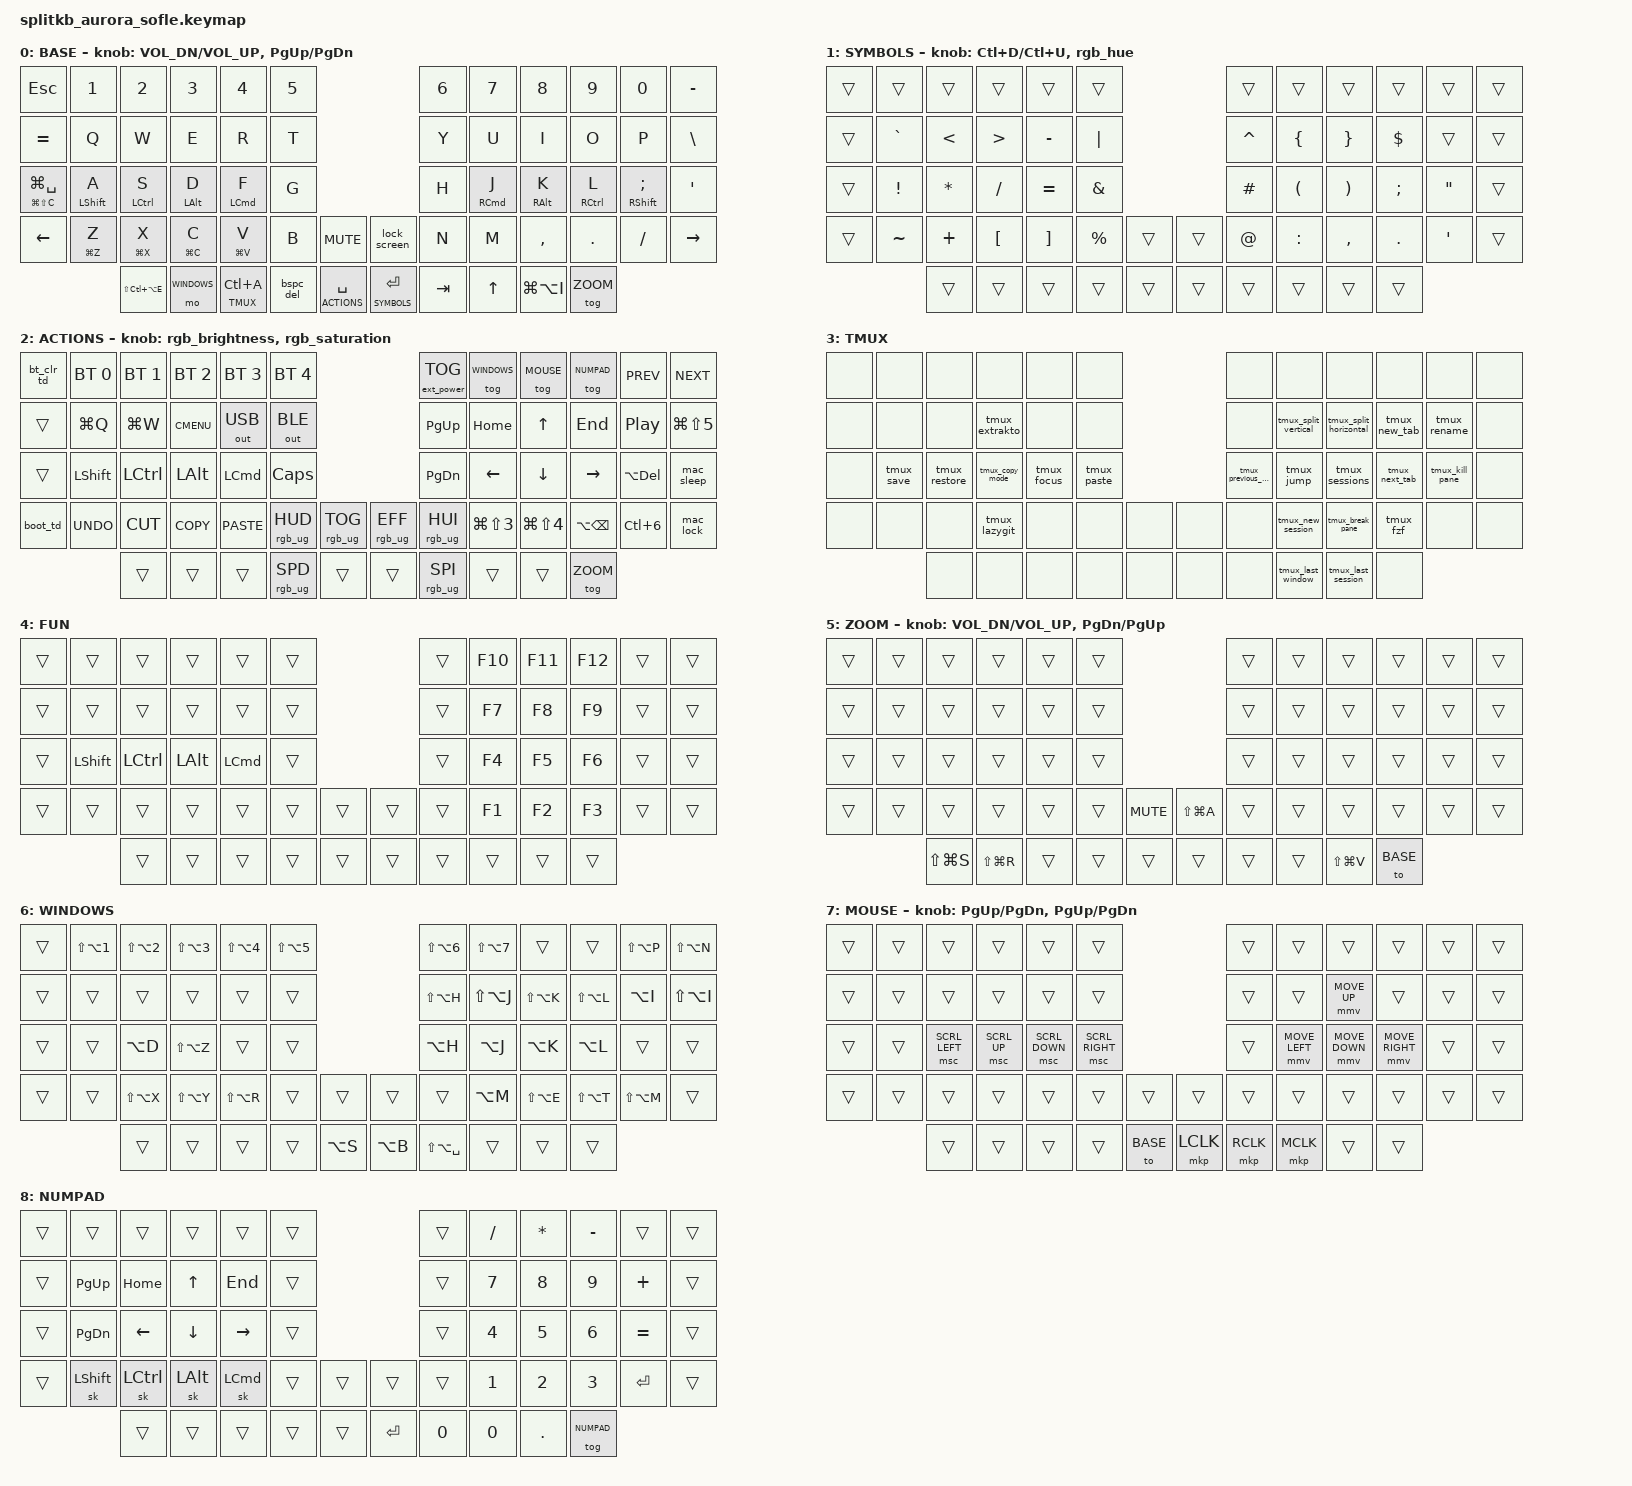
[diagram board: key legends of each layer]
/*
 * Copyright (c) 2023 The ZMK Contributors
 *
 * SPDX-License-Identifier: MIT
 */

#include "keys/60.h"
#include "keys/base.h"

#define ZMK_POINTING_DEFAULT_MOVE_VAL 600  // default: 600
#define ZMK_POINTING_DEFAULT_SCRL_VAL 10    // default: 10

#include <behaviors.dtsi>
#include <dt-bindings/zmk/bt.h>
#include <dt-bindings/zmk/ext_power.h>
#include <dt-bindings/zmk/keys.h>
#include <dt-bindings/zmk/outputs.h>
#include <dt-bindings/zmk/pointing.h>
#include <dt-bindings/zmk/rgb.h>

// move nice!view CS pin to D0

#define BASE      0
#define SYMBOLS   1
#define ACTIONS   2
#define TMUX      3
#define FUN       4
#define ZOOM      5
#define WINDOWS   6
#define MOUSE     7
#define NUMPAD    8

&nice_view_spi { cs-gpios = <&pro_micro 0 GPIO_ACTIVE_HIGH>; };

&mt {
    flavor = "tap-preferred";
    tapping-term-ms = <300>;
    quick-tap-ms = <175>;
    require-prior-idle-ms = <200>;
};

&lt {
    flavor = "balanced";
    tapping-term-ms = <200>;
    quick-tap-ms = <175>;
};

&msc {
    acceleration-exponent = <1>;      // 0
    time-to-max-speed-ms = <40>;      // 500
    delay-ms = <0>;                   // 10
};

&caps_word {
    continue-list = <UNDERSCORE MINUS BACKSPACE DELETE N1 N2 N3 N4 N5 N6 N7 N8 N9 N0>;
};

/ {
    sensors {
        compatible = "zmk,keymap-sensors";
        sensors = <&left_encoder &right_encoder>;
        triggers-per-rotation = <30>;
    };

    behaviors {
        // Positional Homerow mods
        // Homerow mods that prevent accidental activations when rolling keys,
        // such as when typing `st` or `ne` on colemak-dh layouts or `as` on
        // qwerty.
        //
        // Works by only allowing a mod to activate within tapping-term if
        // it's on the opposite side of the keyboard or on the same side thumb
        // keys.
        // Further optimization using urob's timerless homerow mods method:
        // https://github.com/urob/zmk-config#timeless-homerow-mods

        hml: homerow_mods_left {
            compatible = "zmk,behavior-hold-tap";
            label = "HOMEROW_MODS_LEFT";
            #binding-cells = <2>;
            bindings = <&kp>, <&kp>;

            flavor = "balanced";
            tapping-term-ms = <280>;
            quick-tap-ms = <175>;                // repeat on tap-into-hold
            require-prior-idle-ms = <150>;

            hold-trigger-key-positions = <KEYS_R KEYS_T>;
            hold-trigger-on-release;
        };

        hmr: homerow_mods_right {
            compatible = "zmk,behavior-hold-tap";
            label = "HOMEROW_MODS_RIGHT";
            #binding-cells = <2>;
            bindings = <&kp>, <&kp>;

            flavor = "balanced";
            tapping-term-ms = <280>;
            quick-tap-ms = <175>;
            require-prior-idle-ms = <150>;
            hold-trigger-key-positions = <KEYS_L KEYS_T>;
            hold-trigger-on-release;
        };

        lock_screen: lock_screen {
            compatible = "zmk,behavior-tap-dance";
            label = "LOCK_SCREEN";
            #binding-cells = <0>;
            bindings = <&mac_lock>, <&mac_sleep>;
            tapping-term-ms = <300>;
        };

        bt_clr_td: bt_clr_tap_dance {
            compatible = "zmk,behavior-tap-dance";
            label = "BT_CLR_TAP_DANCE";
            #binding-cells = <0>;
            bindings = <&none>, <&bt BT_CLR>;
            tapping-term-ms = <300>;
        };

        boot_td: bootloader_tap_dance {
            compatible = "zmk,behavior-tap-dance";
            label = "BOOTLOADER_TAP_DANCE";
            #binding-cells = <0>;
            bindings = <&none>, <&bootloader>;
            tapping-term-ms = <300>;
        };

        rgb_brightness: rgb_brightness {
            compatible = "zmk,behavior-sensor-rotate";
            label = "RGB_BRIGHTNESS";
            #sensor-binding-cells = <0>;
            bindings = <&rgb_ug RGB_BRD>, <&rgb_ug RGB_BRI>;
        };

        rgb_hue: rgb_hue {
            compatible = "zmk,behavior-sensor-rotate";
            label = "RGB_HUE";
            #sensor-binding-cells = <0>;
            bindings = <&rgb_ug RGB_HUD>, <&rgb_ug RGB_HUI>;
        };

        rgb_saturation: rgb_saturation {
            compatible = "zmk,behavior-sensor-rotate";
            label = "RGB_SATURATION";
            #sensor-binding-cells = <0>;
            bindings = <&rgb_ug RGB_SAD>, <&rgb_ug RGB_SAI>;
        };

        bspc_del: backspace_delete {
            compatible = "zmk,behavior-mod-morph";
            label = "BACKSPACE_DELETE";
            #binding-cells = <0>;
            bindings = <&kp BACKSPACE>, <&kp DELETE>;
            mods = <(MOD_LSFT|MOD_RSFT)>;
        };

    };

    macros {
        mac_lock: mac_lock {
            compatible = "zmk,behavior-macro";
            #binding-cells = <0>;
            label = "MAC_LOCK";
            bindings
                = <&macro_press &kp LCTRL &kp LGUI>
                , <&macro_tap &kp Q>
                , <&macro_release &kp LGUI &kp LCTRL>
                ;
        };

        mac_sleep: mac_sleep {
            compatible = "zmk,behavior-macro";
            #binding-cells = <0>;
            label = "MAC_SLEEP";
            bindings
                = <&macro_press &kp LCTRL &kp LGUI>
                , <&macro_tap &kp Q>
                , <&macro_release &kp LGUI &kp LCTRL>
                , <&macro_wait_time 200>
                , <&macro_tap &kp C_SLEEP>
                ;
        };

        tmux_split_vertical: tmux_split_vertical {
            compatible = "zmk,behavior-macro";
            #binding-cells = <0>;
            label = "TMUX_SPLIT_VERTICAL";
            bindings
                = <&macro_tap &kp LC(A)>
                , <&macro_wait_time 50>
                , <&macro_tap &kp PIPE>
                ;
        };

        tmux_split_horizontal: tmux_split_horizontal {
            compatible = "zmk,behavior-macro";
            #binding-cells = <0>;
            label = "TMUX_SPLIT_HORIZONTAL";
            bindings
                = <&macro_tap &kp LC(A)>
                , <&macro_wait_time 50>
                , <&macro_tap &kp MINUS>
                ;
        };

        tmux_previous_tab: tmux_previous_tab {
            compatible = "zmk,behavior-macro";
            #binding-cells = <0>;
            label = "TMUX_PREVIOUS_TAB";
            bindings
                = <&macro_tap &kp LC(A)>
                , <&macro_wait_time 50>
                , <&macro_tap &kp P>
                ;
        };

        tmux_next_tab: tmux_next_tab {
            compatible = "zmk,behavior-macro";
            #binding-cells = <0>;
            label = "TMUX_NEXT_TAB";
            bindings
                = <&macro_tap &kp LC(A)>
                , <&macro_wait_time 50>
                , <&macro_tap &kp N>
                ;
        };

        tmux_sessions: tmux_sessions {
            compatible = "zmk,behavior-macro";
            #binding-cells = <0>;
            label = "TMUX_SESSIONS";
            bindings
                = <&macro_tap &kp LC(A)>
                , <&macro_wait_time 50>
                , <&macro_tap &kp S>
                ;
        };

        tmux_jump: tmux_jump {
            compatible = "zmk,behavior-macro";
            #binding-cells = <0>;
            label = "TMUX_JUMP";
            bindings
                = <&macro_tap &kp LC(A)>
                , <&macro_wait_time 50>
                , <&macro_tap &kp J>
                ;
        };

        tmux_focus: tmux_focus {
            compatible = "zmk,behavior-macro";
            #binding-cells = <0>;
            label = "TMUX_FOCUS";
            bindings
                = <&macro_tap &kp LC(A)>
                , <&macro_wait_time 50>
                , <&macro_tap &kp Z>
                ;
        };

        tmux_new_tab: tmux_new_tab {
            compatible = "zmk,behavior-macro";
            #binding-cells = <0>;
            label = "TMUX_NEW_TAB";
            bindings
                = <&macro_tap &kp LC(A)>
                , <&macro_wait_time 50>
                , <&macro_tap &kp C>
                ;
        };

        tmux_new_session: tmux_new_session {
            compatible = "zmk,behavior-macro";
            #binding-cells = <0>;
            label = "TMUX_NEW_SESSION";
            bindings
                = <&macro_tap &kp LC(A)>
                , <&macro_wait_time 50>
                , <&macro_tap &kp LS(S)>
                ;
        };

        tmux_lazygit: tmux_lazygit {
            compatible = "zmk,behavior-macro";
            #binding-cells = <0>;
            label = "TMUX_LAZYGIT";
            bindings
                = <&macro_tap &kp LC(A)>
                , <&macro_wait_time 50>
                , <&macro_tap &kp G>
                ;
        };

        tmux_copy_mode: tmux_copy_mode {
            compatible = "zmk,behavior-macro";
            #binding-cells = <0>;
            label = "TMUX_COPY_MODE";
            bindings
                = <&macro_tap &kp LC(A)>
                , <&macro_wait_time 50>
                , <&macro_tap &kp LBKT>
                ;
        };

        tmux_paste: tmux_paste {
            compatible = "zmk,behavior-macro";
            #binding-cells = <0>;
            label = "TMUX_PASTE";
            bindings
                = <&macro_tap &kp LC(A)>
                , <&macro_wait_time 50>
                , <&macro_tap &kp LS(P)>
                ;
        };

        tmux_last_window: tmux_last_window {
            compatible = "zmk,behavior-macro";
            #binding-cells = <0>;
            label = "TMUX_LAST_WINDOW";
            bindings
                = <&macro_tap &kp LC(A)>
                , <&macro_wait_time 50>
                , <&macro_tap &kp LC(A)>
                ;
        };

        tmux_last_session: tmux_last_session {
            compatible = "zmk,behavior-macro";
            #binding-cells = <0>;
            label = "TMUX_LAST_SESSION";
            bindings
                = <&macro_tap &kp LC(A)>
                , <&macro_wait_time 50>
                , <&macro_tap &kp LS(L)>
                ;
        };

        tmux_kill_pane: tmux_kill_pane {
            compatible = "zmk,behavior-macro";
            #binding-cells = <0>;
            label = "TMUX_KILL_PANE";
            bindings
                = <&macro_tap &kp LC(A)>
                , <&macro_wait_time 50>
                , <&macro_tap &kp X>
                ;
        };

        tmux_break_pane: tmux_break_pane {
            compatible = "zmk,behavior-macro";
            #binding-cells = <0>;
            label = "TMUX_BREAK_PANE";
            bindings
                = <&macro_tap &kp LC(A)>
                , <&macro_wait_time 50>
                , <&macro_tap &kp B>
                ;
        };

        tmux_extrakto: tmux_extrakto {
            compatible = "zmk,behavior-macro";
            #binding-cells = <0>;
            label = "TMUX_EXTRAKTO";
            bindings
                = <&macro_tap &kp LC(A)>
                , <&macro_wait_time 50>
                , <&macro_tap &kp TAB>
                ;
        };

        tmux_save: tmux_save {
            compatible = "zmk,behavior-macro";
            #binding-cells = <0>;
            label = "TMUX_SAVE";
            bindings
                = <&macro_tap &kp LC(A)>
                , <&macro_wait_time 50>
                , <&macro_tap &kp LC(S)>
                ;
        };

        tmux_restore: tmux_restore {
            compatible = "zmk,behavior-macro";
            #binding-cells = <0>;
            label = "TMUX_RESTORE";
            bindings
                = <&macro_tap &kp LC(A)>
                , <&macro_wait_time 50>
                , <&macro_tap &kp LC(R)>
                ;
        };

        tmux_rename: tmux_rename {
            compatible = "zmk,behavior-macro";
            #binding-cells = <0>;
            label = "TMUX_RENAME";
            bindings
                = <&macro_tap &kp LC(A)>
                , <&macro_wait_time 50>
                , <&macro_tap &kp COMMA>
                ;
        };

        tmux_fzf: tmux_fzf {
            compatible = "zmk,behavior-macro";
            #binding-cells = <0>;
            label = "TMUX_FZF";
            bindings
                = <&macro_tap &kp LC(A)>
                , <&macro_wait_time 50>
                , <&macro_tap &kp LS(F)>
                ;
        };
    };

    combos {
        compatible = "zmk,combos";

        combo_caps_word {
            bindings = <&caps_word>;
            key-positions = <28 31>;
            layers = <0>;
            timeout-ms = <50>;
        };

        esc_index {
            bindings = <&kp ESC>;
            key-positions = <31 32>;
            layers = <0>;
            timeout-ms = <50>;
        };

        combo_tab {
            bindings = <&kp TAB>;
            key-positions = <20 21>;
            layers = <0>;
            timeout-ms = <50>;
        };

        combo_enter {
            bindings = <&kp ENTER>;
            key-positions = <33 34>;
            layers = <0>;
            timeout-ms = <50>;
        };

        combo_key_repeat {
            bindings = <&key_repeat>;
            key-positions = <46 47>;
            layers = <0>;
            timeout-ms = <50>;
        };

        combo_redo {
            bindings = <&kp LG(LS(Z))>;
            key-positions = <37 38>;
            layers = <0>;
            timeout-ms = <50>;
        };

        combo_lbkt {
            bindings = <&kp LBKT>;
            key-positions = <26 27>;
            layers = <0>;
            timeout-ms = <30>;
        };

        combo_rbkt {
            bindings = <&kp RBKT>;
            key-positions = <33 32>;
            layers = <0>;
            timeout-ms = <50>;
        };

        combo_ctrl_w {
            bindings = <&kp LC(W)>;
            key-positions = <14 16>;
            layers = <0>;
            timeout-ms = <50>;
        };

        combo_scroll_up {
            bindings = <&kp LC(U)>;
            key-positions = <18 19>;
            layers = <0>;
            timeout-ms = <50>;
        };

        combo_scroll_down {
            bindings = <&kp LC(D)>;
            key-positions = <44 45>;
            layers = <0>;
            timeout-ms = <50>;
        };
    };

    keymap {
        compatible = "zmk,keymap";

        base {
            display-name = "BASE";

            bindings = <
&kp ESC                   &kp N1         &kp N2             &kp N3        &kp N4          &kp N5                                                 &kp N6   &kp N7        &kp N8         &kp N9        &kp N0           &kp MINUS
&kp EQUAL                 &kp Q          &kp W              &kp E         &kp R           &kp T                                                  &kp Y    &kp U         &kp I          &kp O         &kp P            &kp BACKSLASH
&hml LG(LS(C)) LG(SPACE)  &hml LSHIFT A  &hml LCTRL S       &hml LALT D   &hml LCMD F     &kp G                                                  &kp H    &hmr RCMD J   &hmr RALT K    &hmr RCTRL L  &hmr RSHFT SEMI  &kp SQT
&kp LEFT_ARROW            &mt LG(Z) Z    &mt LG(X) X        &mt LG(C) C   &mt LG(V) V     &kp B          &kp C_MUTE           &lock_screen       &kp N    &kp M         &kp COMMA      &kp DOT       &kp FSLH         &kp RIGHT_ARROW
                                         &kp LS(LC(LA(E)))  &mo WINDOWS   &lt TMUX LC(A)  &bspc_del      &lt ACTIONS SPACE    &lt SYMBOLS ENTER  &kp TAB  &kp UP_ARROW  &kp LG(LA(I))  &tog ZOOM
            >;

            sensor-bindings = <&inc_dec_kp C_VOL_DN C_VOL_UP>, <&inc_dec_kp PG_UP PG_DN>;
        };

        symbols {
            display-name = "SYMBOLS";

            bindings = <
&trans  &trans     &trans         &trans            &trans             &trans                           &trans     &trans                &trans                 &trans         &trans             &trans
&trans  &kp GRAVE  &kp LESS_THAN  &kp GREATER_THAN  &kp MINUS          &kp PIPE                         &kp CARET  &kp LEFT_BRACE        &kp RIGHT_BRACE        &kp DOLLAR     &trans             &trans
&trans  &kp EXCL   &kp ASTERISK   &kp SLASH         &kp EQUAL          &kp AMPERSAND                    &kp HASH   &kp LEFT_PARENTHESIS  &kp RIGHT_PARENTHESIS  &kp SEMICOLON  &kp DOUBLE_QUOTES  &trans
&trans  &kp TILDE  &kp PLUS       &kp LEFT_BRACKET  &kp RIGHT_BRACKET  &kp PERCENT    &trans    &trans  &kp AT     &kp COLON             &kp COMMA              &kp PERIOD     &kp APOSTROPHE     &trans
                   &trans         &trans            &trans             &trans         &trans    &trans  &trans     &trans                &trans                 &trans
            >;

            sensor-bindings = <&inc_dec_kp LC(D) LC(U)>, <&rgb_hue>;
        };

        actions {
            display-name = "ACTIONS";

            bindings = <
&bt_clr_td  &bt BT_SEL 0  &bt BT_SEL 1  &bt BT_SEL 2  &bt BT_SEL 3  &bt BT_SEL 4                                         &ext_power EP_TOG  &tog WINDOWS    &tog MOUSE       &tog NUMPAD      &kp C_PREV       &kp C_NEXT
&trans      &kp LG(Q)     &kp LG(W)     &kp K_CMENU   &out OUT_USB  &out OUT_BLE                                         &kp PG_UP          &kp HOME        &kp UP           &kp END          &kp C_PP         &kp LG(LS(N5))
&trans      &kp LSHIFT    &kp LCTRL     &kp LALT      &kp LCMD      &kp CLCK                                             &kp PG_DN          &kp LEFT        &kp DOWN         &kp RIGHT        &kp LA(DEL)      &mac_sleep
&boot_td    &kp K_UNDO    &kp K_CUT     &kp K_COPY    &kp K_PASTE   &rgb_ug RGB_HUD  &rgb_ug RGB_TOG    &rgb_ug RGB_EFF  &rgb_ug RGB_HUI    &kp LG(LS(N3))  &kp LG(LS(N4))   &kp LA(BSPC)     &kp LC(N6)       &mac_lock
                          &trans        &trans        &trans        &rgb_ug RGB_SPD  &trans             &trans           &rgb_ug RGB_SPI    &trans          &trans           &tog ZOOM
            >;

            sensor-bindings = <&rgb_brightness>, <&rgb_saturation>;
        };

        tmux {
            display-name = "TMUX";
            bindings = <
&none  &none       &none         &none            &none        &none                   &none               &none                 &none                   &none           &none            &none
&none  &none       &none         &tmux_extrakto   &none        &none                   &none               &tmux_split_vertical  &tmux_split_horizontal  &tmux_new_tab   &tmux_rename     &none
&none  &tmux_save  &tmux_restore &tmux_copy_mode  &tmux_focus  &tmux_paste             &tmux_previous_tab  &tmux_jump            &tmux_sessions          &tmux_next_tab  &tmux_kill_pane  &none
&none  &none       &none         &tmux_lazygit    &none        &none  &none    &none   &none               &tmux_new_session     &tmux_break_pane        &tmux_fzf       &none            &none
                   &none         &none            &none        &none  &none    &none   &none               &tmux_last_window     &tmux_last_session      &none
            >;
        };

        fun {
            display-name = "FUN";
            bindings = <
&trans  &trans     &trans     &trans    &trans    &trans                    &trans  &kp F10  &kp F11  &kp F12  &trans  &trans
&trans  &trans     &trans     &trans    &trans    &trans                    &trans  &kp F7   &kp F8   &kp F9   &trans  &trans
&trans  &kp LSHFT  &kp LCTRL  &kp LALT  &kp LCMD  &trans                    &trans  &kp F4   &kp F5   &kp F6   &trans  &trans
&trans  &trans     &trans     &trans    &trans    &trans  &trans    &trans  &trans  &kp F1   &kp F2   &kp F3   &trans  &trans
                   &trans     &trans    &trans    &trans  &trans    &trans  &trans  &trans   &trans   &trans
            >;
        };

        zoom {
            display-name = "ZOOM";
            bindings = <
&trans  &trans  &trans         &trans         &trans  &trans                               &trans  &trans  &trans         &trans    &trans  &trans
&trans  &trans  &trans         &trans         &trans  &trans                               &trans  &trans  &trans         &trans    &trans  &trans
&trans  &trans  &trans         &trans         &trans  &trans                               &trans  &trans  &trans         &trans    &trans  &trans
&trans  &trans  &trans         &trans         &trans  &trans  &kp K_MUTE    &kp LS(LG(A))  &trans  &trans  &trans         &trans    &trans  &trans
                &kp LS(LG(S))  &kp LS(LG(R))  &trans  &trans  &trans        &trans         &trans  &trans  &kp LS(LG(V))  &to BASE
            >;

            sensor-bindings =
                <&inc_dec_kp C_VOL_DN C_VOL_UP>,
                <&inc_dec_kp PG_DN PG_UP>;
        };

        windows {
            display-name = "WINDOWS";
            bindings = <
&trans  &kp LS(LA(N1))  &kp LS(LA(N2))  &kp LS(LA(N3))  &kp LS(LA(N4))  &kp LS(LA(N5))                                   &kp LS(LA(N6))  &kp LS(LA(N7))  &trans          &trans          &kp LS(LA(P))  &kp LS(LA(N))
&trans  &trans           &trans           &trans           &trans           &trans                                            &kp LS(LA(H))   &kp LS(LA(J))   &kp LS(LA(K))   &kp LS(LA(L))   &kp LA(I)      &kp LS(LA(I))
&trans  &trans           &kp LA(D)        &kp LS(LA(Z))   &trans           &trans                                            &kp LA(H)       &kp LA(J)       &kp LA(K)       &kp LA(L)       &trans         &trans
&trans  &trans           &kp LS(LA(X))    &kp LS(LA(Y))   &kp LS(LA(R))   &trans           &trans            &trans          &trans          &kp LA(M)       &kp LS(LA(E))   &kp LS(LA(T))   &kp LS(LA(M))  &trans
                         &trans           &trans           &trans           &trans           &kp LA(S)         &kp LA(B)      &kp LS(LA(SPACE))  &trans       &trans          &trans
            >;
        };

        mouse {
            display-name = "MOUSE";
            bindings = <
&trans  &trans  &trans          &trans        &trans          &trans                                  &trans     &trans          &trans          &trans           &trans  &trans
&trans  &trans  &trans          &trans        &trans          &trans                                  &trans     &trans          &mmv MOVE_UP    &trans           &trans  &trans
&trans  &trans  &msc SCRL_LEFT  &msc SCRL_UP  &msc SCRL_DOWN  &msc SCRL_RIGHT                         &trans     &mmv MOVE_LEFT  &mmv MOVE_DOWN  &mmv MOVE_RIGHT  &trans  &trans
&trans  &trans  &trans          &trans        &trans          &trans           &trans      &trans     &trans     &trans          &trans          &trans           &trans  &trans
                &trans          &trans        &trans          &trans           &to BASE    &mkp LCLK  &mkp RCLK  &mkp MCLK       &trans          &trans
            >;

            sensor-bindings = <&inc_dec_kp PG_UP PG_DN>, <&inc_dec_kp PG_UP PG_DN>;
        };

        numpad {
            display-name = "NUMPAD";
            bindings = <
&trans  &trans     &trans     &trans    &trans    &trans                          &trans     &kp FSLH      &kp ASTERISK  &kp MINUS  &trans     &trans
&trans  &kp PG_UP  &kp HOME   &kp UP    &kp END   &trans                          &trans     &kp N7        &kp N8        &kp N9     &kp PLUS   &trans
&trans  &kp PG_DN  &kp LEFT   &kp DOWN  &kp RIGHT &trans                          &trans     &kp N4        &kp N5        &kp N6     &kp EQUAL  &trans
&trans  &sk LSHFT  &sk LCTRL  &sk LALT  &sk LCMD  &trans  &trans       &trans     &trans     &kp N1        &kp N2        &kp N3     &kp ENTER  &trans
                   &trans     &trans    &trans    &trans  &trans       &kp ENTER  &kp N0     &kp N0        &kp DOT       &tog NUMPAD
            >;
        };
    };

    conditional_layers {
        compatible = "zmk,conditional-layers";

        fun_layer {
            if-layers = <SYMBOLS ACTIONS>;
            then-layer = <FUN>;
        };
    };
};
